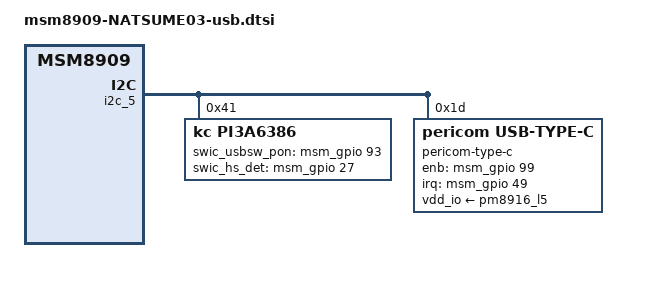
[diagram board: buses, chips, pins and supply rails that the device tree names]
/*
 * This software is contributed or developed by KYOCERA Corporation.
 * (C) 2019 KYOCERA Corporation
 *
 * This program is free software; you can redistribute it and/or modify
 * it under the terms of the GNU General Public License version 2 and
 * only version 2 as published by the Free Software Foundation.
 *
 * This program is distributed in the hope that it will be useful,
 * but WITHOUT ANY WARRANTY; without even the implied warranty of
 * MERCHANTABILITY or FITNESS FOR A PARTICULAR PURPOSE.  See the
 * GNU General Public License for more details.
 */

&msm_gpio {
	hs_det_en {
		hs_det_en_default: hs_det_en_default {
			mux {
				pins = "gpio27";
				function = "gpio";
			};
			config {
				pins = "gpio27";
				drive-strength = <2>;
				output-low;
				bias-disable;
			};
		};
		hs_det_en_active: hs_det_en_active {
			mux {
				pins = "gpio27";
				function = "gpio";
			};
			config {
				pins = "gpio27";
				drive-strength = <2>;
				output-low;
				bias-disable;
			};
		};
		hs_det_en_suspend: hs_det_en_suspend {
			mux {
				pins = "gpio27";
				function = "gpio";
			};
			config {
				pins = "gpio27";
				drive-strength = <2>;
				bias-disable;
			};
		};
	};

	usbc_irq_n {
		usbc_irq_n_default: usbc_irq_n_default {
			mux {
				pins = "gpio49";
				function = "gpio";
			};
			config {
				pins = "gpio49";
				drive-strength = <2>;
				input-debounce = <0>;
				bias-pull-up;
			};
		};
		usbc_irq_n_active: usbc_irq_n_active {
			mux {
				pins = "gpio49";
				function = "gpio";
			};
			config {
				pins = "gpio49";
				drive-strength = <2>;
				input-debounce = <0>;
				bias-pull-up;
			};
		};
		usbc_irq_n_suspend: usbc_irq_n_suspend {
			mux {
				pins = "gpio49";
				function = "gpio";
			};
			config {
				pins = "gpio49";
				drive-strength = <2>;
				input-debounce = <0>;
				bias-pull-up;
			};
		};
	};

	usbsw_pon {
		usbsw_pon_default: usbsw_pon_default {
			mux {
				pins = "gpio93";
				function = "gpio";
			};
			config {
				pins = "gpio93";
				drive-strength = <2>;
				output-high;
				bias-disable;
			};
		};
		usbsw_pon_active: usbsw_pon_active {
			mux {
				pins = "gpio93";
				function = "gpio";
			};
			config {
				pins = "gpio93";
				drive-strength = <2>;
				output-high;
				bias-disable;
			};
		};
		usbsw_pon_suspend: usbsw_pon_suspend {
			mux {
				pins = "gpio93";
				function = "gpio";
			};
			config {
				pins = "gpio93";
				drive-strength = <2>;
				output-high;
				bias-disable;
			};
		};
	};

	usbc_en {
		usbc_en_default: usbc_en_default {
			mux {
				pins = "gpio99";
				function = "gpio";
			};
			config {
				pins = "gpio99";
				drive-strength = <2>;
				output-low;
				bias-disable;
			};
		};
		usbc_en_active: usbc_en_active {
			mux {
				pins = "gpio99";
				function = "gpio";
			};
			config {
				pins = "gpio99";
				drive-strength = <2>;
				output-low;
				bias-disable;
			};
		};
		usbc_en_suspend: usbc_en_suspend {
			mux {
				pins = "gpio99";
				function = "gpio";
			};
			config {
				pins = "gpio99";
				drive-strength = <2>;
				output-high;
				bias-disable;
			};
		};
	};
};

&i2c_5 {
	PI3A6386@41 {
		status = "okay";
		compatible = "kc,PI3A6386";
		reg = <0x41>;
		kc,swic_usbsw_pon-gpio = <&msm_gpio 93 0>;
		kc,swic_hs_det-gpio = <&msm_gpio 27 0>;
	};

	pericom-type-c@1d {
		compatible = "pericom,usb-type-c";
		reg = <0x1d>;
		vdd_io-supply = <&pm8916_l5>;
		interrupt-parent = <&msm_gpio>;
		interrupts = <49 2>;  /* TLMM 49, TRIGGER_FALLING */
		pericom,enb-gpio = <&msm_gpio 99 0x0>;	/* active high */
		pinctrl-names = "default";
		pinctrl-0 = <&usbc_irq_n_default &usbc_en_default>;
	};
};

&usb_otg {
	qcom,hsusb-otg-mode = <1>; /* peripheral only mode */
	qcom,hsusb-otg-phy-init-seq = <0x73 0x80 0x3F 0x81 0x33 0x82 0x33 0x83 0xffffffff>;
};
